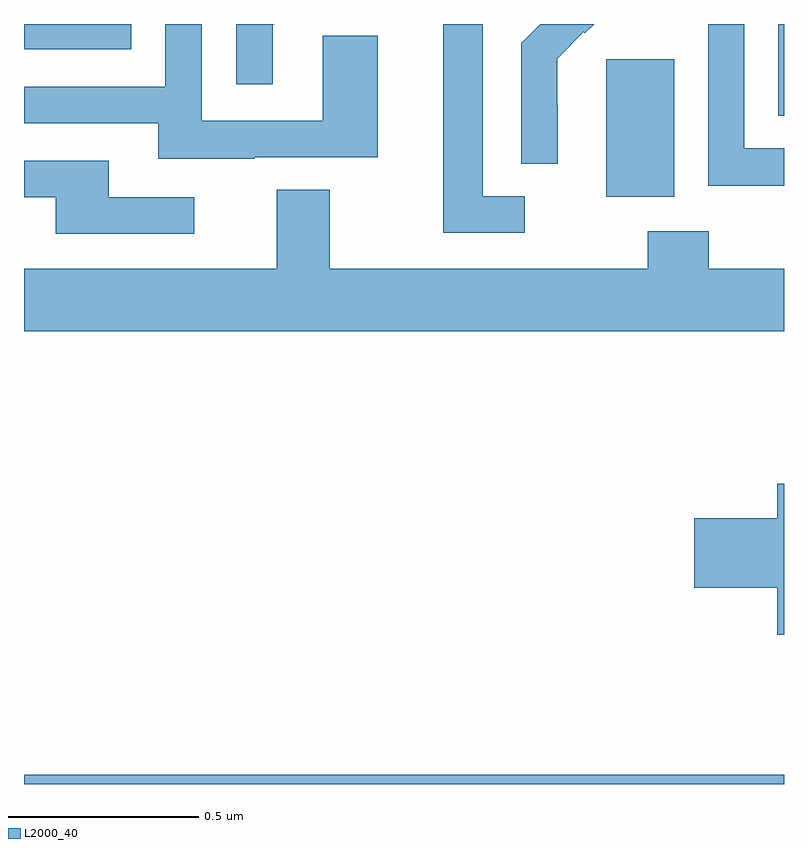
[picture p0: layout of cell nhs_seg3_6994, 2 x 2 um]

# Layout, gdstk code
import gdstk
lib = gdstk.Library(unit=1e-6, precision=1e-09)
def R(c, l, rs):  # rectangles x0, y0, x1, y1
    for r in rs: c.add(gdstk.rectangle(r[:2], r[2:], *l))
def P(c, l, *ps):  # polygons
    for p in ps: c.add(gdstk.Polygon(p, *l))
L2000_40 = (2000, 40)

nhs_seg3_6994 = lib.new_cell('nhs_seg3_6994')
R(nhs_seg3_6994, L2000_40, [(198,690.4,200,690.424), (199.532,691.946,199.711,692.307), (199.985,692.158,200,692.4), (198,692.334,198.282,692.4)])
P(nhs_seg3_6994, L2000_40, [(198.607,692.049),(198.931,692.049),(198.931,692.369),(198.786,692.369),(198.786,692.145),(198.468,692.145),(198.468,692.4),(198.372,692.4),(198.372,692.235),(198,692.235),(198,692.139),(198.353,692.139),(198.353,692.045),(198.607,692.045)],
  [(198.655,692.397),(198.658,692.4),(198.558,692.4),(198.558,692.241),(198.655,692.241)],
  [(199.318,691.947),(199.207,691.947),(199.207,692.4),(199.103,692.4),(199.103,691.851),(199.318,691.851)],
  [(199.404,692.186),(199.403,692.186),(199.403,692.309),(199.473,692.379),(199.476,692.376),(199.5,692.4),(199.358,692.4),(199.308,692.35),(199.308,692.032),(199.404,692.032)],
  [(200,692.073),(199.896,692.073),(199.896,692.4),(199.8,692.4),(199.8,691.975),(200,691.975)],
  [(198.448,691.944),(198.223,691.944),(198.223,692.04),(198,692.04),(198,691.944),(198.083,691.944),(198.083,691.848),(198.448,691.848)],
  [(200,691.756),(199.802,691.756),(199.802,691.855),(199.642,691.855),(199.642,691.756),(198.805,691.756),(198.805,691.964),(198.665,691.964),(198.665,691.756),(198,691.756),(198,691.592),(200,691.592)],
  [(200,691.19),(199.982,691.19),(199.982,691.1),(199.764,691.1),(199.764,690.917),(199.982,690.917),(199.982,690.793),(200,690.793)])

lib.write_gds('nhs_seg3_6994.gds')
